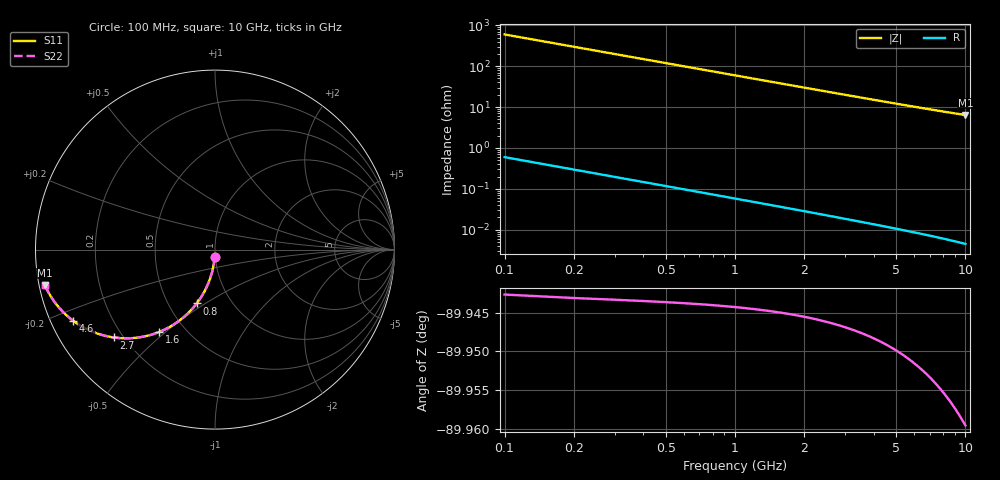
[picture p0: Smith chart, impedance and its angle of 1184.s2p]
# Hz S RI R 50.00
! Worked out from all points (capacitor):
!   100 points, 100 MHz to 10 GHz, reference 50 ohm
!   read as one part in shunt: C = 2.67 pF near 100 MHz
!   lowest |Z| = 6.39 ohm at 10 GHz (marker M1)
!   S11 on the Smith chart (normalised r, x): 100 MHz: 0.99, -0.08; 800 MHz: 0.69, -0.46; 1.6 GHz: 0.36, -0.48; 2.7 GHz: 0.17, -0.37; 4.6 GHz: 0.07, -0.24; 10 GHz: 0.02, -0.10
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1e8  -0.00173 -0.0417  0.9981 -0.0421  0.9981 -0.0421  -0.00173 -0.0417
2e8  -0.00701 -0.0829  0.9929 -0.0838  0.9929 -0.0838  -0.00701 -0.0829
3e8  -0.0157 -0.1233  0.9842 -0.1246  0.9842 -0.1246  -0.0157 -0.1233
4e8  -0.0275 -0.1624  0.9724 -0.1641  0.9724 -0.1641  -0.0275 -0.1624
5e8  -0.0423 -0.1998  0.9576 -0.202  0.9576 -0.202  -0.0423 -0.1998
6e8  -0.0598 -0.2354  0.9401 -0.238  0.9401 -0.238  -0.0598 -0.2354
8e8  -0.1015 -0.2998  0.8984 -0.3033  0.8984 -0.3033  -0.1015 -0.2998
1e9  -0.15 -0.3544  0.8499 -0.3588  0.8499 -0.3588  -0.15 -0.3544
1.2e9  -0.2025 -0.3988  0.7973 -0.404  0.7973 -0.404  -0.2025 -0.3988
1.4e9  -0.2568 -0.4334  0.743 -0.4395  0.743 -0.4395  -0.2568 -0.4334
1.6e9  -0.311 -0.459  0.6888 -0.4659  0.6888 -0.4659  -0.311 -0.459
1.8e9  -0.3635 -0.4766  0.6363 -0.4844  0.6363 -0.4844  -0.3635 -0.4766
2.2e9  -0.4604 -0.4931  0.5394 -0.5027  0.5394 -0.5027  -0.4604 -0.4931
2.7e9  -0.5625 -0.4897  0.4373 -0.5014  0.4373 -0.5014  -0.5625 -0.4897
3.4e9  -0.6711 -0.4618  0.3286 -0.4767  0.3286 -0.4767  -0.6711 -0.4618
4e9  -0.7388 -0.4299  0.2609 -0.4475  0.2609 -0.4475  -0.7388 -0.4299
4.6e9  -0.7893 -0.397  0.2104 -0.4173  0.2104 -0.4173  -0.7893 -0.397
5.1e9  -0.8218 -0.3707  0.1778 -0.3933  0.1778 -0.3933  -0.8218 -0.3707
5.8e9  -0.8567 -0.3367  0.1428 -0.3624  0.1428 -0.3624  -0.8567 -0.3367
6.7e9  -0.889 -0.2982  0.1104 -0.3282  0.1104 -0.3282  -0.889 -0.2982
8.4e9  -0.927 -0.2398  0.0721 -0.2778  0.0721 -0.2778  -0.927 -0.2398
1e10  -0.9479 -0.1975  0.0509 -0.2434  0.0509 -0.2434  -0.9479 -0.1975
